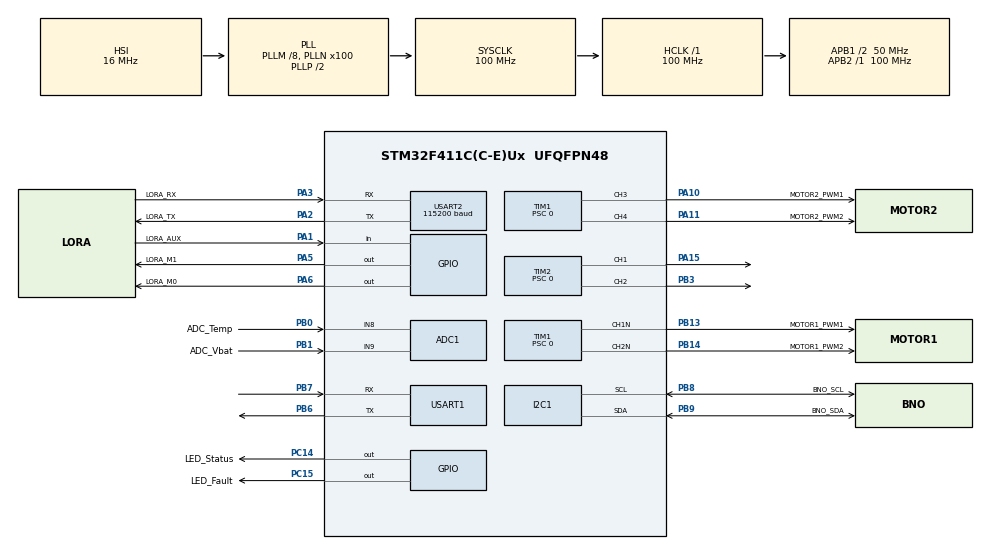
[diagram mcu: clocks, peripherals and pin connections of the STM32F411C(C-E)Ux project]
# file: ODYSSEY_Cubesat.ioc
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ADC1.Channel-4\#ChannelRegularConversion=ADC_CHANNEL_9
ADC1.Channel-5\#ChannelRegularConversion=ADC_CHANNEL_8
ADC1.ContinuousConvMode=ENABLE
ADC1.DMAContinuousRequests=ENABLE
ADC1.EOCSelection=ADC_EOC_SEQ_CONV
ADC1.NbrOfConversion=2
ADC1.NbrOfConversionFlag=1
ADC1.Rank-4\#ChannelRegularConversion=1
ADC1.Rank-5\#ChannelRegularConversion=2
ADC1.SamplingTime-4\#ChannelRegularConversion=ADC_SAMPLETIME_480CYCLES
ADC1.SamplingTime-5\#ChannelRegularConversion=ADC_SAMPLETIME_480CYCLES
ADC1.ScanConvMode=ENABLE
ADC1.master=1
Dma.ADC1.1.Direction=DMA_PERIPH_TO_MEMORY
Dma.ADC1.1.FIFOMode=DMA_FIFOMODE_DISABLE
Dma.ADC1.1.Instance=DMA2_Stream0
Dma.ADC1.1.MemDataAlignment=DMA_MDATAALIGN_HALFWORD
Dma.ADC1.1.MemInc=DMA_MINC_ENABLE
Dma.ADC1.1.Mode=DMA_CIRCULAR
Dma.ADC1.1.PeriphDataAlignment=DMA_PDATAALIGN_HALFWORD
Dma.ADC1.1.PeriphInc=DMA_PINC_DISABLE
Dma.ADC1.1.Priority=DMA_PRIORITY_MEDIUM
Dma.I2C1_RX.2.Direction=DMA_PERIPH_TO_MEMORY
Dma.I2C1_RX.2.FIFOMode=DMA_FIFOMODE_DISABLE
Dma.I2C1_RX.2.Instance=DMA1_Stream0
Dma.I2C1_RX.2.MemDataAlignment=DMA_MDATAALIGN_BYTE
Dma.I2C1_RX.2.MemInc=DMA_MINC_ENABLE
Dma.I2C1_RX.2.Mode=DMA_NORMAL
Dma.I2C1_RX.2.PeriphDataAlignment=DMA_PDATAALIGN_BYTE
Dma.I2C1_RX.2.PeriphInc=DMA_PINC_DISABLE
Dma.I2C1_RX.2.Priority=DMA_PRIORITY_VERY_HIGH
Dma.Request0=USART2_RX
Dma.Request1=ADC1
Dma.Request2=I2C1_RX
Dma.Request3=USART2_TX
Dma.USART2_RX.0.Direction=DMA_PERIPH_TO_MEMORY
Dma.USART2_RX.0.FIFOMode=DMA_FIFOMODE_DISABLE
Dma.USART2_RX.0.Instance=DMA1_Stream5
Dma.USART2_RX.0.MemDataAlignment=DMA_MDATAALIGN_BYTE
Dma.USART2_RX.0.MemInc=DMA_MINC_ENABLE
Dma.USART2_RX.0.Mode=DMA_NORMAL
Dma.USART2_RX.0.PeriphDataAlignment=DMA_PDATAALIGN_BYTE
Dma.USART2_RX.0.PeriphInc=DMA_PINC_DISABLE
Dma.USART2_RX.0.Priority=DMA_PRIORITY_VERY_HIGH
Dma.USART2_TX.3.Direction=DMA_MEMORY_TO_PERIPH
Dma.USART2_TX.3.FIFOMode=DMA_FIFOMODE_DISABLE
Dma.USART2_TX.3.Instance=DMA1_Stream6
Dma.USART2_TX.3.MemDataAlignment=DMA_MDATAALIGN_BYTE
Dma.USART2_TX.3.MemInc=DMA_MINC_ENABLE
Dma.USART2_TX.3.Mode=DMA_NORMAL
Dma.USART2_TX.3.PeriphDataAlignment=DMA_PDATAALIGN_BYTE
Dma.USART2_TX.3.PeriphInc=DMA_PINC_DISABLE
Dma.USART2_TX.3.Priority=DMA_PRIORITY_HIGH
FREERTOS.Tasks01=defaultTask,24,128,StartDefaultTask,Default,NULL,Dynamic,NULL,NULL
FREERTOS.configENABLE_FPU=1
I2C1.I2C_Mode=I2C_Fast
Mcu.Family=STM32F4
Mcu.Name=STM32F411C(C-E)Ux
Mcu.Package=UFQFPN48
NVIC.DMA1_Stream0_IRQn=true\:5\:0\:false\:false\:true\:true\:false\:true\:true
NVIC.DMA1_Stream5_IRQn=true\:5\:0\:false\:false\:true\:true\:false\:true\:true
NVIC.DMA1_Stream6_IRQn=true\:5\:0\:false\:false\:true\:true\:false\:true\:true
NVIC.DMA2_Stream0_IRQn=true\:5\:0\:false\:false\:true\:true\:false\:true\:true
NVIC.PriorityGroup=NVIC_PRIORITYGROUP_4
NVIC.TIM1_BRK_TIM9_IRQn=true\:5\:0\:true\:false\:true\:true\:false\:true\:true
NVIC.TIM4_IRQn=true\:5\:0\:false\:false\:true\:true\:true\:true\:true
NVIC.TIM5_IRQn=true\:15\:0\:false\:false\:true\:false\:false\:true\:true
NVIC.TimeBase=TIM5_IRQn
NVIC.TimeBaseIP=TIM5
NVIC.USART2_IRQn=true\:5\:0\:false\:false\:true\:true\:true\:true\:true
PA1.GPIO_Label=LORA_AUX
PA1.Signal=GPIO_Input
PA10.GPIO_Label=MOTOR2_PWM1
PA10.Signal=S_TIM1_CH3
PA11.GPIO_Label=MOTOR2_PWM2
PA11.Signal=S_TIM1_CH4
PA13.Mode=Serial_Wire
PA13.Signal=SYS_JTMS-SWDIO
PA14.Mode=Serial_Wire
PA14.Signal=SYS_JTCK-SWCLK
PA15.Signal=S_TIM2_CH1_ETR
PA2.GPIO_Label=LORA_TX
PA2.Mode=Asynchronous
PA2.Signal=USART2_TX
PA3.GPIO_Label=LORA_RX
PA3.Mode=Asynchronous
PA3.Signal=USART2_RX
PA5.GPIO_Label=LORA_M1
PA5.Signal=GPIO_Output
PA6.GPIO_Label=LORA_M0
PA6.Signal=GPIO_Output
PB0.GPIO_Label=ADC_Temp
PB0.Signal=ADCx_IN8
PB1.GPIO_Label=ADC_Vbat
PB1.Signal=ADCx_IN9
PB13.GPIO_Label=MOTOR1_PWM1
PB13.Mode=PWM Generation1 CH1N
PB13.Signal=TIM1_CH1N
PB14.GPIO_Label=MOTOR1_PWM2
PB14.Mode=PWM Generation2 CH2N
PB14.Signal=TIM1_CH2N
PB3.Signal=S_TIM2_CH2
PB6.Mode=Asynchronous
PB6.Signal=USART1_TX
PB7.Mode=Asynchronous
PB7.Signal=USART1_RX
PB8.GPIO_Label=BNO_SCL
PB8.Mode=I2C
PB8.Signal=I2C1_SCL
PB9.GPIO_Label=BNO_SDA
PB9.Mode=I2C
PB9.Signal=I2C1_SDA
PC14-OSC32_IN.GPIO_Label=LED_Status
PC14-OSC32_IN.Signal=GPIO_Output
PC15-OSC32_OUT.GPIO_Label=LED_Fault
PC15-OSC32_OUT.Signal=GPIO_Output
PH0\ -\ OSC_IN.Mode=HSE-External-Oscillator
PH0\ -\ OSC_IN.Signal=RCC_OSC_IN
PH1\ -\ OSC_OUT.Mode=HSE-External-Oscillator
PH1\ -\ OSC_OUT.Signal=RCC_OSC_OUT
ProjectManager.HeapSize=0x200
ProjectManager.StackSize=0x400
ProjectManager.TargetToolchain=STM32CubeIDE
RCC.48MHZClocksFreq_Value=50000000
RCC.AHBFreq_Value=100000000
RCC.APB1CLKDivider=RCC_HCLK_DIV2
RCC.APB1Freq_Value=50000000
RCC.APB1TimFreq_Value=100000000
RCC.APB2Freq_Value=100000000
RCC.APB2TimFreq_Value=100000000
RCC.CortexFreq_Value=100000000
RCC.HCLKFreq_Value=100000000
RCC.HSE_VALUE=25000000
RCC.HSI_VALUE=16000000
RCC.LSE_VALUE=32768
RCC.PLLM=8
RCC.PLLN=100
RCC.SYSCLKFreq_VALUE=100000000
RCC.SYSCLKSource=RCC_SYSCLKSOURCE_PLLCLK
RCC.VCOOutputFreq_Value=200000000
SH.ADCx_IN8.0=ADC1_IN8,IN8
SH.ADCx_IN9.0=ADC1_IN9,IN9
SH.S_TIM1_CH3.0=TIM1_CH3,PWM Generation3 CH3
SH.S_TIM1_CH4.0=TIM1_CH4,PWM Generation4 CH4
SH.S_TIM2_CH1_ETR.0=TIM2_CH1,PWM Generation1 CH1
SH.S_TIM2_CH2.0=TIM2_CH2,PWM Generation2 CH2
TIM1.Channel-PWM\ Generation1\ CH1N=TIM_CHANNEL_1
TIM1.Channel-PWM\ Generation2\ CH2N=TIM_CHANNEL_2
TIM1.Channel-PWM\ Generation3\ CH3=TIM_CHANNEL_3
TIM1.Channel-PWM\ Generation4\ CH4=TIM_CHANNEL_4
TIM1.OCNPolarity_1=TIM_OCNPOLARITY_HIGH
TIM1.OCNPolarity_2=TIM_OCNPOLARITY_HIGH
TIM1.Period=3999
TIM1.Prescaler=0
TIM2.Channel-PWM\ Generation1\ CH1=TIM_CHANNEL_1
TIM2.Channel-PWM\ Generation2\ CH2=TIM_CHANNEL_2
TIM2.Period=3999
TIM2.Prescaler=0
TIM3.Period=3999
TIM3.Prescaler=0
TIM4.Period=1000-1
TIM4.Prescaler=100-1
USART1.VirtualMode=VM_ASYNC
USART2.BaudRate=115200
USART2.VirtualMode=VM_ASYNC
VP_FREERTOS_VS_CMSIS_V2.Mode=CMSIS_V2
VP_SYS_VS_tim5.Mode=TIM5
VP_TIM1_VS_ClockSourceINT.Mode=Internal
VP_TIM2_VS_ClockSourceINT.Mode=Internal
VP_TIM3_VS_ClockSourceINT.Mode=Internal
VP_TIM4_VS_ClockSourceINT.Mode=Internal
board=custom

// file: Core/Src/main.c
/* USER CODE BEGIN Header */
/**
  ******************************************************************************
  * @file           : main.c
  * @brief          : Main program body
  ******************************************************************************
  * @attention
  *
  * Copyright (c) 2025 STMicroelectronics.
  * All rights reserved.
  *
  * This software is licensed under terms that can be found in the LICENSE file
  * in the root directory of this software component.
  * If no LICENSE file comes with this software, it is provided AS-IS.
  *
  ******************************************************************************
  */
/* USER CODE END Header */
#include "main.h"
#include "cmsis_os.h"
#include "adc.h"
#include "dma.h"
#include "i2c.h"
#include "tim.h"
#include "usart.h"
#include "gpio.h"

/* USER CODE BEGIN Includes */
#include "BNO055.h"				// IMU Sensor
#include "Telemetry.h"			// Telemetry Protocol, how to Pack and Unpack data Cubesat <--> Ground Station
//#include "GPS_NEO6M.h"		// GPS NEO6M

// FreeRTOS
#include "FreeRTOS.h"
#include "task.h"
#include "semphr.h"

// Others
#include <stdlib.h>
/* USER CODE END Includes */

/* USER CODE BEGIN PD */
/* =================== =================== CONTROL SYSTEM =======================================*/
#define MAX_COUNTER_PWM 	4000					// Max number that the PWM register can count up to

#define ATT_ERROR_LIMIT		20						// Maximum acceptable error for control loop in degrees

#define KP_ROW				4000.0f/90.0f			//
#define KP_PITCH			4000.0f/180.0f			//
#define KP_YAW				4000.0f/180.0f			//

/* ======================================= HOUSE KEEPING =========================================*/
#define VOLT_DIV			( 4.73f / (4.73f + 9.97f)    )			// Voltage Divider Gain (fine tuned)
#define ADC_TO_BATT			( 3.3f  / (4095.0f*VOLT_DIV) )		// Vbat(Raw_adc)
#define ADC_TO_TEMP			( 3.3f/4095.0f)*100.0f				// 12bit_to_Volt * Volt_to_Degree (LM35DZ, range 0 to 100°C)

/* ======================================= LED's =================================================*/
#define FAULT_LED_PORT		GPIOC
#define FAULT_LED_PIN		GPIO_PIN_14

#define STATUS_LED_PORT		GPIOC
#define STATUS_LED_PIN		GPIO_PIN_15

/* ======================================= LORA ====================================================*/
#define LORA_M0_PIN			GPIO_PIN_6				// Config PIN, Digital Output Pin
#define LORA_M0_PORT		GPIOA					// Port

#define LORA_M1_PIN			GPIO_PIN_5				// Config Pin, Digital Output Pin
#define LORA_M1_PORT		GPIOA					// Port

#define LORA_AUX_PIN		GPIO_PIN_1				// Flag pin, Digital Input Pin [1: Idle , 0:Message being received]
#define LORA_AUX_PORT		GPIOA					// Port

/* USER CODE END PD */

/* USER CODE BEGIN PV */
/*============================================ CONTROL SYSTEM ==========================================*/
// Control Signal (Duty Cycle)
int16_t DutyC[3]  	   =  {0, 0, 0};				// Duty Cycle as an int, to Control PWM reg
float   u_DutyC[3]     =  {0, 0 ,0}; 				// Controller Output, float PWM value [0,  max count]

// Attitude [Row, Pitch, Yaw]
float Att_Euler[3] 		= {0, 0,   0};				// Current orientation in degreees
float Att_Setpoint[3]  	= {0, 0, 180};				// Current Setpoint in degreers
float Att_Error[3]		= {0, 0,   0};				// Error in Degrees

// Acc and Gyro [mostly for debug]
float Acc[3]  = {0, 0, 0};							// AccX , AccY , AccZ
float Gyro[3] = {0, 0, 0};							// GyroX, GyroY, GyroZ

/*===============================================  HOUSE KEEPING ======================================*/
//
uint16_t ADC_DMA_Buffer[2] 		  = {0,0};			// Updated by DMA, [0]: Raw Battery Voltage, [1]: Raw Temperature
uint32_t BatteryVolt_Sum 	   	  = 0;				// Sum of the voltage battery reads (in Volts)
uint8_t  BatteryVolt_SumCounter   = 0;				// Counter of how many samples the avg has (Number of reads)
uint8_t  MsgCounter         	  = 0;				// Time Stamp (Message Counter)

/*=========================================  TELEMETRY =============================================*/
// Message Buffers
uint8_t TelemetryPacket[TELEMETRY_PACKET_SIZE];
uint8_t	CommandPacket[COMMAND_PACKET_SIZE];
uint8_t	HouseKeepingPacket[HOUSEKEEPING_PACKET_SIZE];

// Arrays used by the Telemetry functions
uint8_t IMU_Data[18]	= {0};								// Acc[0-5], Gyro[6-11] and Heading[12-18]
float HK_Data[3]	 	= {0};								// House Keeping: Battery, Temp
float GPS_Data[2]    	= {0};								// Lat, Long and Alt

//CRC
uint16_t Actual_CRC  = 0;
uint16_t Msg_CRC	 = 0;

// FreeRTOS
SemaphoreHandle_t LORA_mutex;

// BNO055
uint8_t IMU_DMA_Buffer[IMU_BUFFER_LEN]	={0};

/* USER CODE END PV */

void SystemClock_Config(void);
void MX_FREERTOS_Init(void);
/* USER CODE BEGIN PFP */

/*===================================== CONTROL SYSTEM =====================================*/
void AttitudeControl_ISR();												// Callback function for the Control Loop
void PWM_Init();														// Start all 6 PWMs
int16_t P_Control(float AttEuler, float AttSetpoint, float Kp);			// Proportional Control Algorithm
void BRAKE_ROLL();
void BRAKE_PITCH();
void BRAKE_YAW();

/*====================================== TELEMETRY SYSTEM ====================================*/
void E220_Init();														// Blocks Until LoRa has Initialized
//void ATTITUDE_CONTROL_ISR();
/* USER CODE END PFP */

int main(void)
{

  /* MCU Configuration--------------------------------------------------------*/

  /* Reset of all peripherals, Initializes the Flash interface and the Systick. */
  HAL_Init();

  /* Configure the system clock */
  SystemClock_Config();

  /* Initialize all configured peripherals */
  MX_GPIO_Init();
  MX_DMA_Init();
  MX_ADC1_Init();
  MX_TIM1_Init();
  MX_USART2_UART_Init();
  MX_TIM2_Init();
  MX_I2C1_Init();
  MX_TIM3_Init();
  MX_TIM4_Init();
  MX_USART1_UART_Init();
  /* USER CODE BEGIN 2 */

  /* ============================================= SETUP / START ============================================== */
  // IMU: Doesnt Start without BNO055 -------------------------------------------------------------------------
  while(BNO055_Init(&hi2c1) != HAL_OK)
  {
	  HAL_GPIO_TogglePin(FAULT_LED_PORT, FAULT_LED_PIN);
	  HAL_Delay(10);
  }
  HAL_GPIO_WritePin(FAULT_LED_PORT, FAULT_LED_PIN, RESET);

  // LORA EBYTE SETUP --------------------------------------------------------------------------------------//
  E220_Init();															// LoRa Config
//  HAL_UART_Receive_DMA(&huart2, CommandPacket, COMMAND_PACKET_SIZE);	// Receive command ISR
  HAL_UARTEx_ReceiveToIdle_DMA(&huart2, CommandPacket, COMMAND_PACKET_SIZE);
  __HAL_DMA_DISABLE_IT(huart2.hdmarx, DMA_IT_HT);

  // CONTROL SYSTEM-----------------------------------------------------------------------------------------//
  PWM_Init();															// 6 PWM Config
  HAL_TIM_Base_Start_IT(&htim4);										// Control ISR

  // ADC SETUP ---------------------------------------------------------------------------------------------//
  // I'm cheating a bit here so i dont get a warning, the data is uint16 but the prototype is only 32bit
  HAL_ADC_Start_DMA(&hadc1, (uint32_t*)ADC_DMA_Buffer, 2);				// Start DMA to read Bat and Temp

  // Startup Sucessfull LED:
  HAL_GPIO_WritePin(STATUS_LED_PORT, STATUS_LED_PIN, SET);

  /* USER CODE END 2 */

  /* Init scheduler */
  osKernelInitialize();  /* Call init function for freertos objects (in cmsis_os2.c) */
  MX_FREERTOS_Init();

  /* Start scheduler */
  osKernelStart();

  /* We should never get here as control is now taken by the scheduler */

  /* Infinite loop */
  while (1)
  {

  }
}

void SystemClock_Config(void)
{
  RCC_OscInitTypeDef RCC_OscInitStruct = {0};
  RCC_ClkInitTypeDef RCC_ClkInitStruct = {0};

  /** Configure the main internal regulator output voltage
  */
  __HAL_RCC_PWR_CLK_ENABLE();
  __HAL_PWR_VOLTAGESCALING_CONFIG(PWR_REGULATOR_VOLTAGE_SCALE1);

  /** Initializes the RCC Oscillators according to the specified parameters
  * in the RCC_OscInitTypeDef structure.
  */
  RCC_OscInitStruct.OscillatorType = RCC_OSCILLATORTYPE_HSI;
  RCC_OscInitStruct.HSIState = RCC_HSI_ON;
  RCC_OscInitStruct.HSICalibrationValue = RCC_HSICALIBRATION_DEFAULT;
  RCC_OscInitStruct.PLL.PLLState = RCC_PLL_ON;
  RCC_OscInitStruct.PLL.PLLSource = RCC_PLLSOURCE_HSI;
  RCC_OscInitStruct.PLL.PLLM = 8;
  RCC_OscInitStruct.PLL.PLLN = 100;
  RCC_OscInitStruct.PLL.PLLP = RCC_PLLP_DIV2;
  RCC_OscInitStruct.PLL.PLLQ = 4;
  if (HAL_RCC_OscConfig(&RCC_OscInitStruct) != HAL_OK)
  {
    Error_Handler();
  }

  /** Initializes the CPU, AHB and APB buses clocks
  */
  RCC_ClkInitStruct.ClockType = RCC_CLOCKTYPE_HCLK|RCC_CLOCKTYPE_SYSCLK
                              |RCC_CLOCKTYPE_PCLK1|RCC_CLOCKTYPE_PCLK2;
  RCC_ClkInitStruct.SYSCLKSource = RCC_SYSCLKSOURCE_PLLCLK;
  RCC_ClkInitStruct.AHBCLKDivider = RCC_SYSCLK_DIV1;
  RCC_ClkInitStruct.APB1CLKDivider = RCC_HCLK_DIV2;
  RCC_ClkInitStruct.APB2CLKDivider = RCC_HCLK_DIV1;

  if (HAL_RCC_ClockConfig(&RCC_ClkInitStruct, FLASH_LATENCY_3) != HAL_OK)
  {
    Error_Handler();
  }
}

/* USER CODE BEGIN 4 */
/* ###################################################### INIT FUNC. ############################################################## */
void E220_Init()
{
	// Set to normal Mode
	HAL_GPIO_WritePin(LORA_M0_PORT, LORA_M0_PIN, RESET);
	HAL_GPIO_WritePin(LORA_M1_PORT, LORA_M1_PIN, RESET);

	// Delay until LoRa module is ready to go
//	while (HAL_GPIO_ReadPin(LORA_AUX_PORT, LORA_AUX_PIN) == GPIO_PIN_RESET)
//	{
//		HAL_GPIO_TogglePin(FAULT_LED_PORT, FAULT_LED_PIN);
//		HAL_Delay(10);
//	}

	HAL_GPIO_WritePin(FAULT_LED_PORT, FAULT_LED_PIN, RESET);
}

/* Starts all the Control System PWMs and sets their DutyCycle to 0*/
void PWM_Init()
{
	// Motor 1
	HAL_TIMEx_PWMN_Start(&htim1, TIM_CHANNEL_1);		// M1 CW
	HAL_TIMEx_PWMN_Start(&htim1, TIM_CHANNEL_2);		// M1 CCW
	TIM1->CCR1 	= 0;
	TIM1->CCR2 	= 0;

	// Motor 2
	HAL_TIM_PWM_Start(&htim1, TIM_CHANNEL_3);		// M2 CW
	HAL_TIM_PWM_Start(&htim1, TIM_CHANNEL_4);		// M2 CCW
	TIM1->CCR3 	= 0;
	TIM1->CCR4 	= 0;

	// Motor 3
	HAL_TIM_PWM_Start(&htim2, TIM_CHANNEL_1);		// M3 CCW
	HAL_TIM_PWM_Start(&htim2, TIM_CHANNEL_2);		// M3 CW
	TIM2->CCR1 	= 0;
	TIM2->CCR2 	= 0;

}

/* ######################################################### TELEMETRY, TRACKING AND COMMAND ############################################# */
/* Receives only one data packet from the Ground Station:
 * 1. Control Command, with Row, Pitch and Yaw Setpoints
 *
 * It Sends 2 types of data packets to the Ground Station
 * 1. Telemetry (Att, Accel and Gyro)
 * 2. UNAMED (Att Setponts, HouseKeeping)
 */
/* ======================================================= TT&C: RECEIVE COMMAND ==================================================== */
/* Callback Function Every Time the LORA radio receives a full message */
void HAL_UARTEx_RxEventCallback(UART_HandleTypeDef *huart, uint16_t Size)
{

	// =========================== LORA E220 UART CALLBACK ============================ //
	if(huart->Instance == USART2)
	{
		// If it doesnt have a full message, ignores it
        if (Size < COMMAND_PACKET_SIZE)
        {
    		HAL_UARTEx_ReceiveToIdle_DMA(&huart2, CommandPacket, COMMAND_PACKET_SIZE);
            __HAL_DMA_DISABLE_IT(huart2.hdmarx, DMA_IT_HT);
    		return;
        }

		// Check the Start Bytes [for Sync]
		if(CommandPacket[0] != START_BYTE1 || CommandPacket[1] != START_BYTE2)
		{
    		HAL_UARTEx_ReceiveToIdle_DMA(&huart2, CommandPacket, COMMAND_PACKET_SIZE);
            __HAL_DMA_DISABLE_IT(huart2.hdmarx, DMA_IT_HT);
    		return;
		}

        // CYCLIC REDUNDANCY CHECK ------------------------------------------------------------------------------------------------------------//
		Msg_CRC 	= ( (uint16_t)CommandPacket[COMMAND_PACKET_SIZE-1] << 8 ) |  ( (uint16_t)CommandPacket[COMMAND_PACKET_SIZE-2] );
    	Actual_CRC = CRC16_CCITT(CommandPacket, COMMAND_PACKET_SIZE - 2);

    	// If the message is corrupted, ignores it
    	if(Actual_CRC != Msg_CRC)
		{
    		HAL_UARTEx_ReceiveToIdle_DMA(&huart2, CommandPacket, COMMAND_PACKET_SIZE);
            __HAL_DMA_DISABLE_IT(huart2.hdmarx, DMA_IT_HT);
    		return;
		}

        // DECODE PACKET AND REACTIVATE DMA ISR -----------------------------------------------------------------------------------------------//
    	Decode_CommandPacket(CommandPacket, Att_Setpoint); 						// Very Lightweight and not often called
		HAL_UARTEx_ReceiveToIdle_DMA(&huart2, CommandPacket, COMMAND_PACKET_SIZE);
    	__HAL_DMA_DISABLE_IT(huart2.hdmarx, DMA_IT_HT);
	}
}

/* ================================================= TT&C: SEND TELEMETRY DATA  ==================================================== */
/* Sends the data to Ground Station via radio Module every 100ms*/
void Send_to_GroundStation_Telemetry(void *argument)
{
	while(1)
	{
		// IMU ----------------------------------------------------------------------------------------------- //
//		BNO055_ReadIMU_Raw(&hi2c1, IMU_Data);

		// Calculates average for the battery voltage
		BatteryVolt_Sum += (uint32_t)ADC_DMA_Buffer[0];		// Raw Voltage sum
		BatteryVolt_SumCounter++;							// Sample Counter

		// Message Counter [0 - 255]
		MsgCounter++;

		// ENCODE DATA PACKET ------------------------------------------------------------------------------- //
		Encode_TelemetryPacket(TelemetryPacket, IMU_Data, MsgCounter);

		// SEND PACKET TO RADIO ----------------------------------------------------------------------------- //
		xSemaphoreTake(LORA_mutex, portMAX_DELAY);
//		HAL_UART_Transmit(&huart2, TelemetryPacket, TELEMETRY_PACKET_SIZE, HAL_MAX_DELAY);
		HAL_UART_Transmit_DMA(&huart2, TelemetryPacket, TELEMETRY_PACKET_SIZE);
		xSemaphoreGive(LORA_mutex);

		// 100ms Delay between consecutive messages
		vTaskDelay(pdMS_TO_TICKS(100));
	}
}

/* ================================================= TT&C: SEND SETPOINT, MODE AND GPS  ==================================================== */
/* Sends the data to Ground Station via radio Module every 1s*/
void Send_to_GroundStation_HouseKeeping(void *argument)
{
//	uint16_t Temp = 0;
	while(1)
	{
		// GPS DATA ------------------------------------------------------------------------------- //
		GPS_Data[0] = 10;										//
		GPS_Data[1] = 50;										//

		/* HOUSE KEEPING DATA ------------------------------------------------------------------------------- */
		// Battery Voltage [0 - 8.4V]
		HK_Data[0] = ADC_TO_BATT* ( (float)BatteryVolt_Sum/(float)BatteryVolt_SumCounter);	// Battery Voltage Average
		BatteryVolt_Sum 		= 0;														// Clears sum
		BatteryVolt_SumCounter  = 0; 														// Clears Counter

		// Temperature [0 to 100]
		HK_Data[1] = (float)ADC_DMA_Buffer[1] * ADC_TO_TEMP;

		// Status [0 = OK]
		HK_Data[2] = 0;

		/* ENCODE DATA PACKET ------------------------------------------------------------------------------- */
		Encode_HouseKeepingPacket(HouseKeepingPacket, Att_Setpoint, HK_Data, GPS_Data);

		/* SEND PACKET TO RADIO ----------------------------------------------------------------------------- */
		// Holds until the UART Tx is clear + delay of 20 ms between Telemetry and HouseKeeping msg
		xSemaphoreTake(LORA_mutex, portMAX_DELAY);
		vTaskDelay(pdMS_TO_TICKS(20));

		// Transmit message
//		HAL_UART_Transmit(&huart2, HouseKeepingPacket, HOUSEKEEPING_PACKET_SIZE, HAL_MAX_DELAY);
		HAL_UART_Transmit_DMA(&huart2, HouseKeepingPacket, HOUSEKEEPING_PACKET_SIZE);

		// Holds 20ms before letting another message use Mutex
		vTaskDelay(pdMS_TO_TICKS(20));
		xSemaphoreGive(LORA_mutex);

		// 2s delay between msgs
		vTaskDelay(pdMS_TO_TICKS(2000));
	}

}

/*######################################################## ATT. DETERMINATION AND CONTROL ###################################################*/
/* Control System ISR, runs every 10ms
 * A unit delay was implemented in software (so the I2C timing and etc doesn't mess the control timing)
 *
 *
 */
/* Callback Function Every Time the LORA radio receives a full message */
void AttitudeControl_ISR()
{
	// =========================== APPLY CONTROL / DIRECTION =================================== //
	// Roll (X) -------------------------------------------------
	TIM1->CCR1 = (DutyC[0] > 0) ? (uint32_t) (  DutyC[0] ) : 0;
	TIM1->CCR2 = (DutyC[0] < 0) ? (uint32_t) ( -DutyC[0] ) : 0;
	if(DutyC[0] == 0) { BRAKE_ROLL(); }

	// Pitch (Y) ------------------------------------------------
	TIM1->CCR3 = (DutyC[1] > 0) ? (uint32_t) (  DutyC[1] ) : 0;
	TIM1->CCR4 = (DutyC[1] < 0) ? (uint32_t) ( -DutyC[1] ) : 0;
	if(DutyC[1] == 0) { BRAKE_PITCH(); }

	// Yaw (Z) --------------------------------------------------
	TIM2->CCR1 = (DutyC[2] > 0) ? (uint32_t) (  DutyC[2] ) : 0;
	TIM2->CCR2 = (DutyC[2] < 0) ? (uint32_t) ( -DutyC[2] ) : 0;
	if(DutyC[2] == 0) { BRAKE_YAW(); }

	// ====================================== READ IMU ====================================== //
	// DMA is non blocking, control continues in the Callback ISR
	BNO055_StartRead_DMA(&hi2c1, IMU_DMA_Buffer);
//	if( BNO055_StartRead_DMA(&hi2c1, IMU_DMA_Buffer) != HAL_OK)
//	{
//		BNO055_I2C_Reset(&hi2c1);
//		return;
//	}
}

void BRAKE_ROLL()
{
	TIM1->CCR1 = MAX_COUNTER_PWM;
	TIM1->CCR2 = MAX_COUNTER_PWM;
}

void BRAKE_PITCH()
{
	TIM1->CCR3 = MAX_COUNTER_PWM;
	TIM1->CCR4 = MAX_COUNTER_PWM;
}

void BRAKE_YAW()
{
	TIM2->CCR1 = MAX_COUNTER_PWM;
	TIM2->CCR2 = MAX_COUNTER_PWM;
}

/* Reads Attitude and calculates control after DMA finishes reading the BNO055*/
void AttitudeControl_Callback()
{
	// ====================================== READ IMU ====================================== //
	BNO055_FinishRead_DMA(&hi2c1, IMU_DMA_Buffer, Att_Euler, IMU_Data);

	// ================================= CONTROL ALGORITHM =================================  //
	DutyC[0] = P_Control(Att_Euler[0], Att_Setpoint[0], KP_ROW);			// Row
	DutyC[1] = P_Control(Att_Euler[1], Att_Setpoint[1], KP_PITCH);			// Pitch
	DutyC[2] = P_Control(Att_Euler[2], Att_Setpoint[2], KP_YAW);			// Yaw

	// ================================== MAX / MIN VALUES ================================= //
	for(int i=0;i<3;i++)
	{
		if (DutyC[i] >  MAX_COUNTER_PWM) { DutyC[i] =  MAX_COUNTER_PWM; }
		if (DutyC[i] < -MAX_COUNTER_PWM) { DutyC[i] = -MAX_COUNTER_PWM; }
	}
}

/* Callback Function Every Time I2C DMA message */
void HAL_I2C_MemRxCpltCallback(I2C_HandleTypeDef *hi2c) {
    if (hi2c->Instance == I2C1)
    {
    	AttitudeControl_Callback();
    }
}

/* ================================================= PROPORTIONAL CONTROL ALGORITHM  ==================================================== */
/* Control algorithm: Proportional Control  */
int16_t P_Control(float AttEuler, float AttSetpoint, float Kp)
{
	float Error_t = 0;
	float u_pwm   = 0;
	int16_t DutyC = 0;

	// ======================== CALCULATE ERORR ===================================  //
	Error_t = AttSetpoint - AttEuler;

	// ======================== CONTROL ALGORITHM ==================================  //
	u_pwm = Kp*Error_t;

	// ======================== MAX / MIN VALUES ======================== //
	DutyC = (int16_t)u_pwm;
	if (DutyC >  MAX_COUNTER_PWM) { DutyC =  MAX_COUNTER_PWM; }
	if (DutyC < -MAX_COUNTER_PWM) { DutyC = -MAX_COUNTER_PWM; }

	// if DutyC changed signs (Direction Changed), next iteration is 0

	// Ignores errors below certain treshold
	if (DutyC >= -100 && DutyC<= 100 ) { DutyC = 0;}
	return DutyC;
}

void HAL_I2C_ErrorCallback(I2C_HandleTypeDef *hi2c)
{
    if(hi2c->Instance == I2C1)
    {
    	HAL_GPIO_WritePin(STATUS_LED_PORT, STATUS_LED_PIN, RESET);
//        // 1. Abort any ongoing DMA transfer
//        HAL_I2C_Master_Abort_IT(hi2c, BNO055_ADDR);
//
//        // 2. Reset the peripheral
//        __HAL_RCC_I2C1_FORCE_RESET();
//        for(volatile int i = 0; i < 1000; i++);
//        __HAL_RCC_I2C1_RELEASE_RESET();
//
//        // 3. Reinit
//        HAL_I2C_DeInit(hi2c);
//        HAL_I2C_Init(hi2c);
//
//        // 4. Immediately retry the DMA read
//        // If this fails too, next TIM4 ISR will retry anyway
//        BNO055_StartRead_DMA(hi2c, IMU_DMA_Buffer);
    }
}

/* USER CODE END 4 */

void HAL_TIM_PeriodElapsedCallback(TIM_HandleTypeDef *htim)
{
  /* USER CODE BEGIN Callback 0 */
  if (htim->Instance == TIM4)
  {
	  AttitudeControl_ISR();
  }

  /* USER CODE END Callback 0 */
  if (htim->Instance == TIM5)
  {
    HAL_IncTick();
  }
}

void Error_Handler(void)
{
  __disable_irq();
  while (1)
  {
  }
}

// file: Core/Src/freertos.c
/* USER CODE BEGIN Header */
/**
  ******************************************************************************
  * File Name          : freertos.c
  * Description        : Code for freertos applications
  ******************************************************************************
  * @attention
  *
  * Copyright (c) 2026 STMicroelectronics.
  * All rights reserved.
  *
  * This software is licensed under terms that can be found in the LICENSE file
  * in the root directory of this software component.
  * If no LICENSE file comes with this software, it is provided AS-IS.
  *
  ******************************************************************************
  */
/* USER CODE END Header */

#include "FreeRTOS.h"
#include "task.h"
#include "main.h"
#include "cmsis_os.h"

/* USER CODE BEGIN Includes */
#include "semphr.h"
/* USER CODE END Includes */

/* USER CODE BEGIN Variables */
const osThreadAttr_t telemetry_attr = {
    .name       = "Telemetry",
    .stack_size = 512 * 4,
    .priority   = osPriorityNormal,
};

const osThreadAttr_t housekeeping_attr = {
    .name       = "HouseKeeping",
    .stack_size = 256 * 4,
    .priority   = osPriorityBelowNormal,
};

/* USER CODE END Variables */
/* Definitions for defaultTask */
osThreadId_t defaultTaskHandle;
const osThreadAttr_t defaultTask_attributes = {
  .name = "defaultTask",
  .stack_size = 128 * 4,
  .priority = (osPriority_t) osPriorityNormal,
};

/* USER CODE BEGIN FunctionPrototypes */
extern void Send_to_GroundStation_Telemetry(void *argument);
extern void Send_to_GroundStation_HouseKeeping(void *argument);

/* USER CODE END FunctionPrototypes */

void StartDefaultTask(void *argument);

void MX_FREERTOS_Init(void); /* (MISRA C 2004 rule 8.1) */

void MX_FREERTOS_Init(void) {

  /* USER CODE BEGIN RTOS_MUTEX */
  extern SemaphoreHandle_t LORA_mutex;
  LORA_mutex = xSemaphoreCreateMutex();

  /* USER CODE END RTOS_MUTEX */

  /* Create the thread(s) */
  /* creation of defaultTask */
  defaultTaskHandle = osThreadNew(StartDefaultTask, NULL, &defaultTask_attributes);

  /* USER CODE BEGIN RTOS_THREADS */
  /* add threads, ... */
  osThreadNew(Send_to_GroundStation_Telemetry, NULL, &telemetry_attr);
  osThreadNew(Send_to_GroundStation_HouseKeeping, NULL, &housekeeping_attr);
  /* USER CODE END RTOS_THREADS */

}

void StartDefaultTask(void *argument)
{
  /* USER CODE BEGIN StartDefaultTask */
  /* Infinite loop */
  for(;;)
  {
    osDelay(1000);
  }
  /* USER CODE END StartDefaultTask */
}
